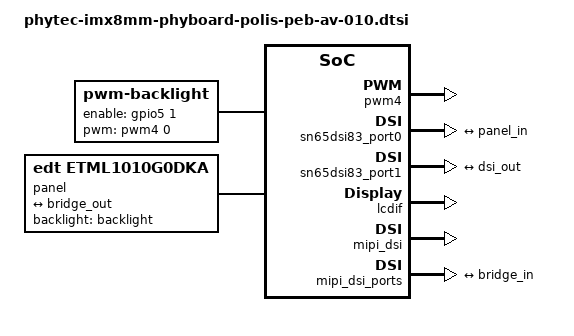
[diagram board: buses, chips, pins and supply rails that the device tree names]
// SPDX-License-Identifier: GPL-2.0
/*
 * Copyright (C) 2019 PHYTEC Messtechnik GmbH
 * Author: Teresa Remmet <t.remmet@phytec.de>
 *
 */

/ {
	backlight: backlight {
		compatible = "pwm-backlight";
		pinctrl-names = "default";
		pinctrl-0 = <&pinctrl_lcd>;
		default-brightness-level = <7>;
		pwms = <&pwm4 0 500000>;
		enable-gpios = <&gpio5 1 GPIO_ACTIVE_HIGH>;
		brightness-levels= <0 4 8 16 32 64 128 255>;
		status = "okay";
	};

	panel: panel {
		compatible = "edt,etml1010g0dka";
		backlight = <&backlight>;
		status = "okay";

		port {
			panel_in: endpoint {
				remote-endpoint = <&bridge_out>;
			};
		};
	};

};

&pwm4 {
	status = "okay";
	pinctrl-names = "default";
	pinctrl-0 = <&pinctrl_pwm4>;
};

&sn65dsi83_port0 {
	bridge_out: endpoint {
		remote-endpoint = <&panel_in>;
	};
};

&sn65dsi83_port1 {
	bridge_in: endpoint {
		remote-endpoint = <&dsi_out>;
	};
};

&lcdif {
	status = "okay";
	max-res = <1920>, <1080>;
};

&mipi_dsi {
	status = "okay";
	as_bridge;
	sync-pol = <1>;
	pwr-delay = <10>;
};

&mipi_dsi_ports {
	port@1 {
		reg = <1>;
                dsi_out: endpoint {
                        remote-endpoint = <&bridge_in>;
                };
        };
};

&iomuxc {
	peb-av-010 {
		pinctrl_pwm4: pwm4grp {
			fsl,pins = <
				MX8MM_IOMUXC_SAI3_MCLK_PWM4_OUT			0x12
			>;
		};

		pinctrl_lcd: lcd0grp {
			fsl,pins = <
				MX8MM_IOMUXC_SAI3_TXD_GPIO5_IO1                 0x12
			>;
		};
	};
};
